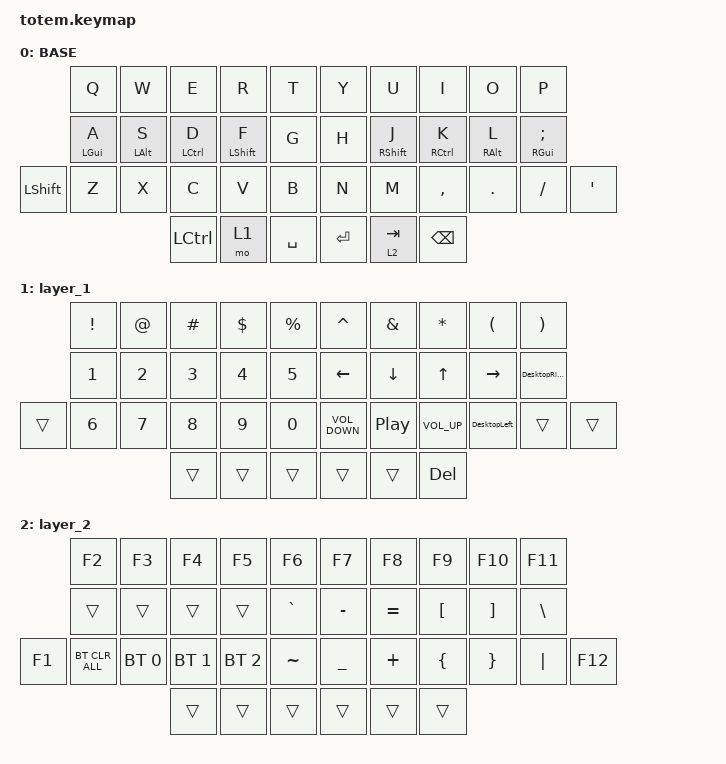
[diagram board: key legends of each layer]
//
//                                                        ▀▀▀▀▀     ▀▀▀▀▀          ▀▀█▀▀
//                                                        ▄▀▀▀▄  ▄  ▄▀▀▀▄  ▄  ▄▀▀▀▄  █  ▄▀▀▀▄
//                                                        █   █  █  █   █  █  █   █  █  █   █
//                                                         ▀▀▀   █   ▀▀▀   █   ▀▀▀   ▀   ▀▀▀
//                                                               █      ▄▄▄█▄▄▄    █   █  
//                                                               ▀      █  █  █     █▄█
//                                                             ▀▀▀▀▀    █  █  █      ▀
//                                                                      ▀  ▀  ▀
//
// ▄▄▄▄▄▄▄▄▄▄▄▄▄▄▄▄▄▄▄▄▄▄▄▄▄▄▄▄▄▄▄▄▄▄▄▄▄▄▄▄▄▄▄▄▄▄▄▄▄▄▄▄▄▄▄▄▄▄▄▄▄▄▄▄▄▄▄▄▄▄▄▄▄▄▄▄▄▄▄▄▄▄▄▄▄▄▄▄▄▄▄▄▄▄▄▄▄▄▄▄▄▄▄▄▄▄▄▄▄▄▄▄▄▄▄▄▄▄▄▄▄▄▄▄▄▄▄▄▄▄▄▄▄▄▄▄▄▄▄▄▄▄▄▄▄▄▄▄▄

#include <behaviors.dtsi>
#include <dt-bindings/zmk/bt.h>
#include <dt-bindings/zmk/keys.h>

#define BASE 0
#define NAV  1
#define SYM  2
#define ADJ  3
#define TVP1 4
#define TVP2 5

&mt {
    quick-tap-ms = <100>;
    global-quick-tap;
    flavor = "tap-preferred";
    tapping-term-ms = <170>;
};

/ {
    combos {
        compatible = "zmk,combos";

        combo_esc {
            timeout-ms = <50>;
            key-positions = <1 2>;
            bindings = <&kp ESC>;
        };

        combo_tvp {
            timeout-ms = <100>;
            key-positions = <11 12 13>;
            bindings = <&ctrl_c>;
        };

        Clear_Terminal {
            bindings = <&ctrl_l>;
            key-positions = <16 17 18>;
            timeout-ms = <100>;
        };
    };

    macros {
        gif: gif {
            label = "giphy";
            compatible = "zmk,behavior-macro";
            #binding-cells = <0>;
            bindings =
                <&macro_press>,
                <&kp LSHFT>,
                <&macro_tap>,
                <&kp N2>,
                <&macro_release>,
                <&kp LSHFT>,
                <&macro_tap>,
                <&kp G &kp I &kp F>;
        };

        DesktopLeft: DesktopLeft {
            compatible = "zmk,behavior-macro";
            #binding-cells = <0>;
            bindings =
                <&macro_press>,
                <&kp LEFT_WIN &kp LCTRL>,
                <&macro_tap>,
                <&kp LEFT_ARROW>,
                <&macro_release>,
                <&kp LEFT_WIN &kp LCTRL>;

            label = "DESKTOPLEFT";
        };

        DesktopRight: DesktopRight {
            compatible = "zmk,behavior-macro";
            #binding-cells = <0>;
            bindings =
                <&macro_press>,
                <&kp LEFT_WIN &kp LCTRL>,
                <&macro_tap>,
                <&kp RIGHT_ARROW>,
                <&macro_release>,
                <&kp LEFT_WIN &kp LCTRL>;

            label = "DESKTOPRIGHT";
        };

        ctrl_c: ctrl_c {
            compatible = "zmk,behavior-macro";
            #binding-cells = <0>;
            bindings =
                <&macro_press>,
                <&kp LCTRL>,
                <&macro_tap>,
                <&kp C>,
                <&macro_release>,
                <&kp LCTRL>;

            label = "CTRL_C";
        };

        ctrl_l: ctrl_l {
            compatible = "zmk,behavior-macro";
            #binding-cells = <0>;
            bindings =
                <&macro_press>,
                <&kp LCTRL &kp LEFT_ALT>,
                <&macro_tap>,
                <&kp L>,
                <&macro_release>,
                <&kp LCTRL &kp LEFT_ALT>;

            label = "CTRL_L";
        };
    };

    keymap {
        compatible = "zmk,keymap";

        // ▄▄▄▄▄▄▄▄▄▄▄▄▄▄▄▄▄▄▄▄▄▄▄▄▄▄▄▄▄▄▄▄▄▄▄▄▄▄▄▄▄▄▄▄▄▄▄▄▄▄▄▄▄▄▄▄▄▄▄▄▄▄▄▄▄▄▄▄▄▄▄▄▄▄▄▄▄▄▄▄▄▄▄▄▄▄▄▄▄▄▄▄▄▄▄▄▄▄▄▄▄▄▄▄▄▄▄▄▄▄▄▄▄▄▄▄▄▄▄▄▄▄▄▄▄▄▄▄▄▄▄▄▄▄▄▄▄▄▄▄▄▄▄▄▄▄▄▄▄

        base_layer {
            // ┏━━━━━━━━━━━━━━━━━━━━━━━━━━━━━━━━━━━━━━━┓

            label = "BASE";

            // ┗━━━━━━━━━━━━━━━━━━━━━━━━━━━━━━━━━━━━━━━┛
            //             ┏━━━━━━━━━━━┳━━━━━━━━━━━┳━━━━━━━━━━━┳━━━━━━━━━━━┳━━━━━━━━━━━┓   ┏━━━━━━━━━━━┳━━━━━━━━━━━┳━━━━━━━━━━━┳━━━━━━━━━━━┳━━━━━━━━━━━┓
            //             ┃     Q     ┃     W     ┃     F     ┃     P     ┃     G     ┃   ┃     J     ┃     L     ┃     U     ┃     Y     ┃     ;     ┃
            //             ┣━━━━━━━━━━━╋━━━━━━━━━━━╋━━━━━━━━━━━╋━━━━━━━━━━━╋━━━━━━━━━━━┫   ┣━━━━━━━━━━━╋━━━━━━━━━━━╋━━━━━━━━━━━╋━━━━━━━━━━━╋━━━━━━━━━━━┫
            //             ┃     A     ┃     R     ┃     S     ┃     T     ┃     D     ┃   ┃     H     ┃     N     ┃     E     ┃     I     ┃     O     ┃
            // ┏━━━━━━━━━━━╋━━━━━━━━━━━╋━━━━━━━━━━━╋━━━━━━━━━━━╋━━━━━━━━━━━╋━━━━━━━━━━━┫   ┣━━━━━━━━━━━╋━━━━━━━━━━━╋━━━━━━━━━━━╋━━━━━━━━━━━╋━━━━━━━━━━━╋━━━━━━━━━━━┓
            // ┃     Q     ┃     Z     ┃     X     ┃     C     ┃     V     ┃     B     ┃   ┃     K     ┃     M     ┃     ,     ┃     .     ┃     /     ┃     \     ┃
            // ┗━━━━━━━━━━━┻━━━━━━━━━━━┻━━━━━━━━━━━╋━━━━━━━━━━━╋━━━━━━━━━━━╋━━━━━━━━━━━┫   ┣━━━━━━━━━━━╋━━━━━━━━━━━╋━━━━━━━━━━━╋━━━━━━━━━━━┻━━━━━━━━━━━┻━━━━━━━━━━━┛
            //                                     ┃    DEL    ┃    TAB    ┃    SPC    ┃   ┃   ENTER   ┃           ┃   BSPC    ┃
            //                                     ┗━━━━━━━━━━━┻━━━━━━━━━━━┻━━━━━━━━━━━┛   ┗━━━━━━━━━━━┻━━━━━━━━━━━┻━━━━━━━━━━━┛

            bindings = <
                &kp Q       &kp W       &kp E        &kp R        &kp T        &kp Y    &kp U        &kp I        &kp O       &kp P
                &mt LGUI A  &mt LALT S  &mt LCTRL D  &mt LSHFT F  &kp G        &kp H    &mt RSHFT J  &mt RCTRL K  &mt RALT L  &mt RGUI SEMICOLON
&kp LEFT_SHIFT  &kp Z       &kp X       &kp C        &kp V        &kp B        &kp N    &kp M        &kp COMMA    &kp DOT     &kp FSLH            &kp SQT
                                        &kp LCTRL    &mo 1        &kp SPACE    &kp RET  &lt 2 TAB    &kp BSPC
            >;
        };

        // ▄▄▄▄▄▄▄▄▄▄▄▄▄▄▄▄▄▄▄▄▄▄▄▄▄▄▄▄▄▄▄▄▄▄▄▄▄▄▄▄▄▄▄▄▄▄▄▄▄▄▄▄▄▄▄▄▄▄▄▄▄▄▄▄▄▄▄▄▄▄▄▄▄▄▄▄▄▄▄▄▄▄▄▄▄▄▄▄▄▄▄▄▄▄▄▄▄▄▄▄▄▄▄▄▄▄▄▄▄▄▄▄▄▄▄▄▄▄▄▄▄▄▄▄▄▄▄▄▄▄▄▄▄▄▄▄▄▄▄▄▄▄▄▄▄▄▄▄▄
        // ▄▄▄▄▄▄▄▄▄▄▄▄▄▄▄▄▄▄▄▄▄▄▄▄▄▄▄▄▄▄▄▄▄▄▄▄▄▄▄▄▄▄▄▄▄▄▄▄▄▄▄▄▄▄▄▄▄▄▄▄▄▄▄▄▄▄▄▄▄▄▄▄▄▄▄▄▄▄▄▄▄▄▄▄▄▄▄▄▄▄▄▄▄▄▄▄▄▄▄▄▄▄▄▄▄▄▄▄▄▄▄▄▄▄▄▄▄▄▄▄▄▄▄▄▄▄▄▄▄▄▄▄▄▄▄▄▄▄▄▄▄▄▄▄▄▄▄▄▄
        // ▄▄▄▄▄▄▄▄▄▄▄▄▄▄▄▄▄▄▄▄▄▄▄▄▄▄▄▄▄▄▄▄▄▄▄▄▄▄▄▄▄▄▄▄▄▄▄▄▄▄▄▄▄▄▄▄▄▄▄▄▄▄▄▄▄▄▄▄▄▄▄▄▄▄▄▄▄▄▄▄▄▄▄▄▄▄▄▄▄▄▄▄▄▄▄▄▄▄▄▄▄▄▄▄▄▄▄▄▄▄▄▄▄▄▄▄▄▄▄▄▄▄▄▄▄▄▄▄▄▄▄▄▄▄▄▄▄▄▄▄▄▄▄▄▄▄▄▄▄
        // ▄▄▄▄▄▄▄▄▄▄▄▄▄▄▄▄▄▄▄▄▄▄▄▄▄▄▄▄▄▄▄▄▄▄▄▄▄▄▄▄▄▄▄▄▄▄▄▄▄▄▄▄▄▄▄▄▄▄▄▄▄▄▄▄▄▄▄▄▄▄▄▄▄▄▄▄▄▄▄▄▄▄▄▄▄▄▄▄▄▄▄▄▄▄▄▄▄▄▄▄▄▄▄▄▄▄▄▄▄▄▄▄▄▄▄▄▄▄▄▄▄▄▄▄▄▄▄▄▄▄▄▄▄▄▄▄▄▄▄▄▄▄▄▄▄▄▄▄▄
        // ▄▄▄▄▄▄▄▄▄▄▄▄▄▄▄▄▄▄▄▄▄▄▄▄▄▄▄▄▄▄▄▄▄▄▄▄▄▄▄▄▄▄▄▄▄▄▄▄▄▄▄▄▄▄▄▄▄▄▄▄▄▄▄▄▄▄▄▄▄▄▄▄▄▄▄▄▄▄▄▄▄▄▄▄▄▄▄▄▄▄▄▄▄▄▄▄▄▄▄▄▄▄▄▄▄▄▄▄▄▄▄▄▄▄▄▄▄▄▄▄▄▄▄▄▄▄▄▄▄▄▄▄▄▄▄▄▄▄▄▄▄▄▄▄▄▄▄▄▄

        layer_1 {
            bindings = <
        &kp EXCLAMATION  &kp AT_SIGN   &kp HASH      &kp DOLLAR    &kp PERCENT     &kp CARET          &kp AMPERSAND     &kp ASTERISK     &kp LEFT_PARENTHESIS  &kp RIGHT_PARENTHESIS
        &kp NUMBER_1     &kp NUMBER_2  &kp NUMBER_3  &kp NUMBER_4  &kp NUMBER_5    &kp LEFT           &kp DOWN          &kp UP_ARROW     &kp RIGHT             &DesktopRight
&trans  &kp NUMBER_6     &kp NUMBER_7  &kp NUMBER_8  &kp NUMBER_9  &kp NUMBER_0    &kp C_VOLUME_DOWN  &kp C_PLAY_PAUSE  &kp C_VOLUME_UP  &DesktopLeft          &trans                 &trans
                                       &trans        &trans        &trans          &trans             &trans            &kp DELETE
            >;
        };

        layer_2 {
            bindings = <
        &kp F2          &kp F3        &kp F4        &kp F5        &kp F6       &kp F7          &kp F8     &kp F9            &kp F10            &kp F11
        &trans          &trans        &trans        &trans        &kp GRAVE    &kp MINUS       &kp EQUAL  &kp LEFT_BRACKET  &kp RIGHT_BRACKET  &kp BACKSLASH
&kp F1  &bt BT_CLR_ALL  &bt BT_SEL 0  &bt BT_SEL 1  &bt BT_SEL 2  &kp TILDE    &kp UNDERSCORE  &kp PLUS   &kp LEFT_BRACE    &kp RIGHT_BRACE    &kp PIPE       &kp F12
                                      &trans        &trans        &trans       &trans          &trans     &trans
            >;
        };
    };
};
